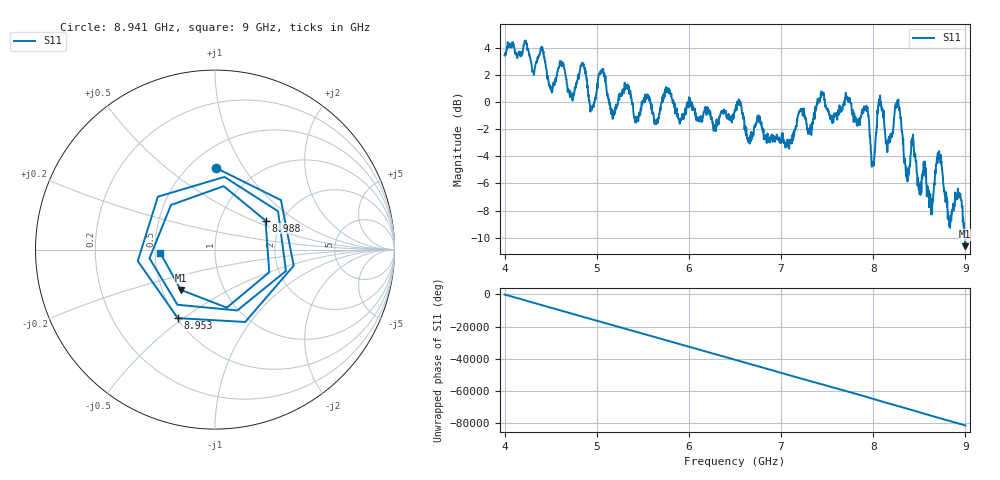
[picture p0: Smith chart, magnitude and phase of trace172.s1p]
! Created with skrf 1.8.0 (http://scikit-rf.org).
# Hz S RI R 50.0
!freq ReS11 ImS11
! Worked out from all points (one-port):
!   1601 points, 4 GHz to 9 GHz, reference 50 ohm
!   lowest |S11| = -10.6 dB at 8.997 GHz (marker M1), VSWR 1.83, Z = 31.1 - j15.3 ohm
!   |S11| at or under -10 dB: 8.995123 GHz to end of sweep
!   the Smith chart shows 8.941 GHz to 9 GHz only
!   S11 on the Smith chart (normalised r, x): 8.941 GHz: 0.66, +0.76; 8.953 GHz: 0.51, -0.48; 8.988 GHz: 1.65, +0.60; 9 GHz: 0.53, -0.02
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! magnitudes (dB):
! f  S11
! 4 GHz  3.4
! 4.503 GHz  0.9
! 4.625 GHz  2.6
! 4.728 GHz  0.3
! 4.853 GHz  2.7
! 4.941 GHz  -0.6
! 5.05 GHz  2.1
! 5.172 GHz  -1.3
! 5.25 GHz  0.6
! 5.875 GHz  -1.0
! 6.5 GHz  -0.6
! 7.125 GHz  -2.8
! 7.75 GHz  0.0
! 7.925 GHz  -0.3
! 7.994 GHz  -4.4
! 8.069 GHz  0.2
! 8.159 GHz  -3.1
! 8.266 GHz  0.1
! 8.375 GHz  -5.1
! 8.431 GHz  -2.4
! 8.631 GHz  -7.5
! 8.716 GHz  -3.6
! 8.825 GHz  -9.0
! 8.941 GHz  -6.8
! 8.953 GHz  -7.2
! 8.988 GHz  -9.8
! 8.997 GHz  -10.6
! 9 GHz  -10.3
